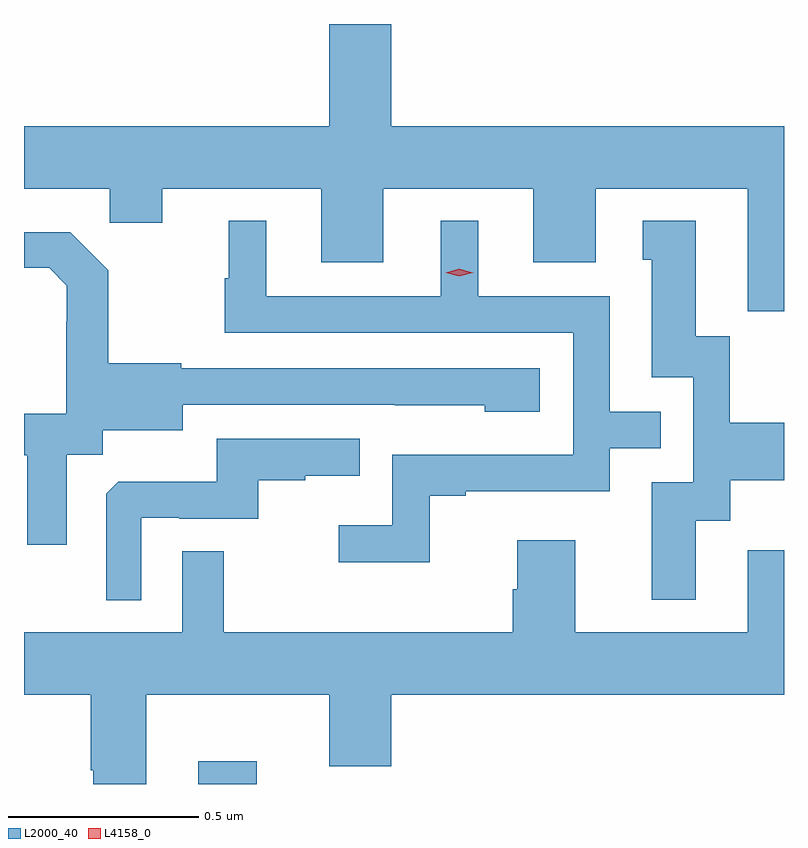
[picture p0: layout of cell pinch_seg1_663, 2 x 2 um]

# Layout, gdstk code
import gdstk
lib = gdstk.Library(unit=1e-6, precision=1e-09)
def R(c, l, rs):  # rectangles x0, y0, x1, y1
    for r in rs: c.add(gdstk.rectangle(r[:2], r[2:], *l))
def P(c, l, *ps):  # polygons
    for p in ps: c.add(gdstk.Polygon(p, *l))
L2000_40 = (2000, 40)
L4158_0 = (4158, 0)

pinch_seg1_663 = lib.new_cell('pinch_seg1_663')
R(pinch_seg1_663, L2000_40, [(859.967,571.477,860.122,571.537)])
P(pinch_seg1_663, L2000_40, [(861.509,573.208),(860.476,573.208),(860.476,573.477),(860.312,573.477),(860.312,573.208),(859.509,573.208),(859.509,573.044),(859.735,573.044),(859.735,572.954),(859.873,572.954),(859.873,573.044),(860.291,573.044),(860.291,572.85),(860.455,572.85),(860.455,573.044),(860.849,573.044),(860.849,572.85),(861.013,572.85),(861.013,573.044),(861.413,573.044),(861.413,572.833),(861.414,572.833),(861.414,572.721),(861.509,572.721)],
  [(860.577,572.235),(860.671,572.235),(860.671,572.247),(861.051,572.247),(861.051,572.361),(861.185,572.361),(861.185,572.457),(861.051,572.457),(861.051,572.76),(860.704,572.76),(860.704,572.959),(860.606,572.959),(860.606,572.76),(860.146,572.76),(860.146,572.959),(860.048,572.959),(860.048,572.808),(860.037,572.808),(860.037,572.664),(860.955,572.664),(860.955,572.343),(860.478,572.343),(860.478,572.158),(860.337,572.158),(860.337,572.06),(860.577,572.06)],
  [(861.277,572.17),(861.367,572.17),(861.367,572.276),(861.509,572.276),(861.509,572.428),(861.366,572.428),(861.366,572.655),(861.277,572.655),(861.277,572.959),(861.137,572.959),(861.137,572.856),(861.161,572.856),(861.161,572.547),(861.27,572.547),(861.27,572.271),(861.161,572.271),(861.161,571.962),(861.277,571.962)],
  [(859.621,572.344),(859.716,572.344),(859.716,572.408),(859.927,572.408),(859.927,572.475),(860.485,572.475),(860.485,572.474),(860.721,572.474),(860.721,572.456),(860.866,572.456),(860.866,572.571),(859.923,572.571),(859.923,572.584),(859.731,572.584),(859.731,572.829),(859.631,572.929),(859.509,572.929),(859.509,572.835),(859.575,572.835),(859.622,572.788),(859.622,572.693),(859.62,572.693),(859.62,572.452),(859.509,572.452),(859.509,572.342),(859.517,572.342),(859.517,572.106),(859.621,572.106)],
  [(859.818,572.178),(859.918,572.178),(859.918,572.175),(860.126,572.175),(860.126,572.277),(860.249,572.277),(860.249,572.288),(860.393,572.288),(860.393,572.385),(860.016,572.385),(860.016,572.273),(859.757,572.273),(859.725,572.241),(859.725,571.961),(859.818,571.961)],
  [(859.831,571.712),(860.312,571.712),(860.312,571.524),(860.476,571.524),(860.476,571.712),(861.509,571.712),(861.509,572.092),(861.413,572.092),(861.413,571.876),(860.959,571.876),(860.959,572.119),(860.807,572.119),(860.807,571.989),(860.795,571.989),(860.795,571.876),(860.035,571.876),(860.035,572.09),(859.926,572.09),(859.926,571.876),(859.509,571.876),(859.509,571.712),(859.684,571.712),(859.684,571.513),(859.691,571.513),(859.691,571.477),(859.831,571.477)])
P(pinch_seg1_663, L4158_0, [(860.655,572.813),(860.619,572.823),(860.619,572.823),(860.619,572.823),(860.655,572.833),(860.69,572.823),(860.691,572.823),(860.69,572.823)])

lib.write_gds('pinch_seg1_663.gds')
